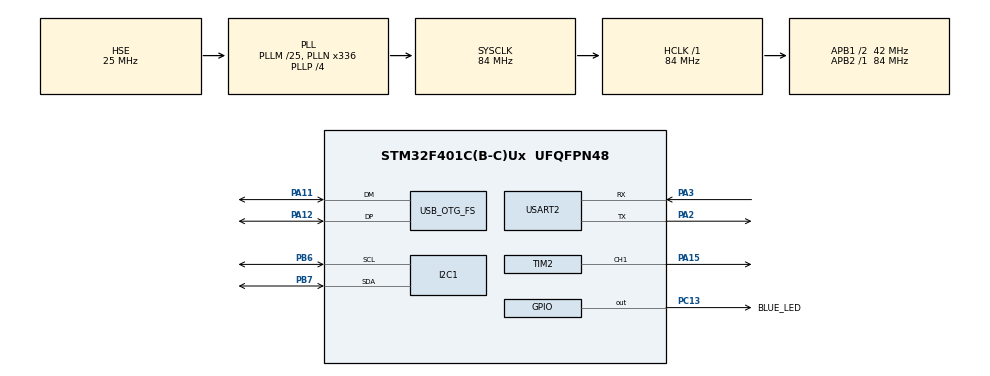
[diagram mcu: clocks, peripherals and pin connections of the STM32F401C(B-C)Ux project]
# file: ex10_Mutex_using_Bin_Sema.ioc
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Mcu.Family=STM32F4
Mcu.Name=STM32F401C(B-C)Ux
Mcu.Package=UFQFPN48
NVIC.OTG_FS_IRQn=true\:0\:0\:true\:false\:true\:false\:true\:true
NVIC.PriorityGroup=NVIC_PRIORITYGROUP_4
NVIC.TIM1_UP_TIM10_IRQn=true\:15\:0\:false\:false\:true\:false\:true\:true
NVIC.TimeBase=TIM1_UP_TIM10_IRQn
NVIC.TimeBaseIP=TIM1
PA11.Mode=Device_Only
PA11.Signal=USB_OTG_FS_DM
PA12.Mode=Device_Only
PA12.Signal=USB_OTG_FS_DP
PA13.Mode=Trace_Asynchronous_SW
PA13.Signal=SYS_JTMS-SWDIO
PA14.Mode=Trace_Asynchronous_SW
PA14.Signal=SYS_JTCK-SWCLK
PA15.Signal=S_TIM2_CH1_ETR
PA2.Mode=Asynchronous
PA2.Signal=USART2_TX
PA3.Mode=Asynchronous
PA3.Signal=USART2_RX
PB3.Mode=Trace_Asynchronous_SW
PB3.Signal=SYS_JTDO-SWO
PB6.Mode=I2C
PB6.Signal=I2C1_SCL
PB7.Mode=I2C
PB7.Signal=I2C1_SDA
PC13-ANTI_TAMP.GPIO_Label=BLUE_LED
PC13-ANTI_TAMP.GPIO_ModeDefaultOutputPP=GPIO_MODE_OUTPUT_OD
PC13-ANTI_TAMP.GPIO_PuPd=GPIO_NOPULL
PC13-ANTI_TAMP.PinState=GPIO_PIN_SET
PC13-ANTI_TAMP.Signal=GPIO_Output
PC14-OSC32_IN.Mode=LSE-External-Oscillator
PC14-OSC32_IN.Signal=RCC_OSC32_IN
PC15-OSC32_OUT.Mode=LSE-External-Oscillator
PC15-OSC32_OUT.Signal=RCC_OSC32_OUT
PH0\ -\ OSC_IN.Mode=HSE-External-Oscillator
PH0\ -\ OSC_IN.Signal=RCC_OSC_IN
PH1\ -\ OSC_OUT.Mode=HSE-External-Oscillator
PH1\ -\ OSC_OUT.Signal=RCC_OSC_OUT
ProjectManager.HeapSize=0x200
ProjectManager.StackSize=0x400
ProjectManager.TargetToolchain=STM32CubeIDE
RCC.48MHZClocksFreq_Value=48000000
RCC.AHBFreq_Value=84000000
RCC.APB1CLKDivider=RCC_HCLK_DIV2
RCC.APB1Freq_Value=42000000
RCC.APB1TimFreq_Value=84000000
RCC.APB2Freq_Value=84000000
RCC.APB2TimFreq_Value=84000000
RCC.CortexFreq_Value=84000000
RCC.HCLKFreq_Value=84000000
RCC.HSE_VALUE=25000000
RCC.HSI_VALUE=16000000
RCC.PLLM=25
RCC.PLLN=336
RCC.PLLP=RCC_PLLP_DIV4
RCC.PLLQ=7
RCC.SYSCLKFreq_VALUE=84000000
RCC.SYSCLKSource=RCC_SYSCLKSOURCE_PLLCLK
RCC.VCOOutputFreq_Value=336000000
RTC.HourFormat=RTC_HOURFORMAT_12
SH.S_TIM2_CH1_ETR.0=TIM2_CH1,PWM Generation1 CH1
TIM2.Channel-PWM\ Generation1\ CH1=TIM_CHANNEL_1
USART2.VirtualMode=VM_ASYNC
USB_DEVICE.CLASS_NAME_FS=CDC
USB_DEVICE.VirtualMode=Cdc
USB_DEVICE.VirtualModeFS=Cdc_FS
USB_OTG_FS.VirtualMode=Device_Only
VP_RTC_VS_RTC_Activate.Mode=RTC_Enabled
VP_SYS_VS_tim1.Mode=TIM1
VP_USB_DEVICE_VS_USB_DEVICE_CDC_FS.Mode=CDC_FS
board=custom

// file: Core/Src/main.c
/* USER CODE BEGIN Header */
/**
  ******************************************************************************
  * @file           : main.c
  * @brief          : Main program body
  ******************************************************************************
  * @attention
  *
  * Copyright (c) 2022 STMicroelectronics.
  * All rights reserved.
  *
  * This software is licensed under terms that can be found in the LICENSE file
  * in the root directory of this software component.
  * If no LICENSE file comes with this software, it is provided AS-IS.
  *
  ******************************************************************************
  */
/* USER CODE END Header */
#include "main.h"
#include "i2c.h"
#include "rtc.h"
#include "tim.h"
#include "usart.h"
#include "usb_device.h"
#include "gpio.h"

/* USER CODE BEGIN Includes */
#include "dwt_delay.h"
#include "FreeRTOS.h"
#include "task.h"
#include "queue.h"
#include "semphr.h"
#include <stdio.h>
/* USER CODE END Includes */

/* USER CODE BEGIN PV */
uint8_t msg[100];
uint8_t len;
/* USER CODE END PV */

void SystemClock_Config(void);
/* USER CODE BEGIN PFP */
static void vTask1(void *pvParameters);
static void vTask2(void *pvParameters);

xQueueHandle xBinarySemaphore;
/* USER CODE END PFP */

int main(void)
{

  /* MCU Configuration--------------------------------------------------------*/

  /* Reset of all peripherals, Initializes the Flash interface and the Systick. */
  HAL_Init();

  /* Configure the system clock */
  SystemClock_Config();

  /* Initialize all configured peripherals */
  MX_GPIO_Init();
  MX_I2C1_Init();
  MX_TIM2_Init();
  MX_USB_DEVICE_Init();
  MX_RTC_Init();
  MX_USART2_UART_Init();
  /* USER CODE BEGIN 2 */
  vSetVarulMaxPRIGROUPValue();
  DWT_Init();
  SEGGER_UART_init(500000);
  SEGGER_SYSVIEW_Conf();

  xBinarySemaphore = xSemaphoreCreateBinary();

  if (xBinarySemaphore != NULL) {
	  xTaskCreate(vTask1, "Task1", 500, NULL, 1, NULL);
	  xTaskCreate(vTask2, "Task2", 500, NULL, 1, NULL);

	  xSemaphoreGive(xBinarySemaphore);
	  vTaskStartScheduler();
  } else {
	  len = snprintf((char *)msg, 100, "Binary semaphore creation failed.%s", "\r\n");
	  HAL_UART_Transmit(&huart2, msg, len, 100);
  }
  /* USER CODE END 2 */

  /* Infinite loop */
  while (1)
  {

  }
}

void SystemClock_Config(void)
{
  RCC_OscInitTypeDef RCC_OscInitStruct = {0};
  RCC_ClkInitTypeDef RCC_ClkInitStruct = {0};

  /** Configure the main internal regulator output voltage
  */
  __HAL_RCC_PWR_CLK_ENABLE();
  __HAL_PWR_VOLTAGESCALING_CONFIG(PWR_REGULATOR_VOLTAGE_SCALE2);

  /** Initializes the RCC Oscillators according to the specified parameters
  * in the RCC_OscInitTypeDef structure.
  */
  RCC_OscInitStruct.OscillatorType = RCC_OSCILLATORTYPE_LSI|RCC_OSCILLATORTYPE_HSE;
  RCC_OscInitStruct.HSEState = RCC_HSE_ON;
  RCC_OscInitStruct.LSIState = RCC_LSI_ON;
  RCC_OscInitStruct.PLL.PLLState = RCC_PLL_ON;
  RCC_OscInitStruct.PLL.PLLSource = RCC_PLLSOURCE_HSE;
  RCC_OscInitStruct.PLL.PLLM = 25;
  RCC_OscInitStruct.PLL.PLLN = 336;
  RCC_OscInitStruct.PLL.PLLP = RCC_PLLP_DIV4;
  RCC_OscInitStruct.PLL.PLLQ = 7;
  if (HAL_RCC_OscConfig(&RCC_OscInitStruct) != HAL_OK)
  {
    Error_Handler();
  }

  /** Initializes the CPU, AHB and APB buses clocks
  */
  RCC_ClkInitStruct.ClockType = RCC_CLOCKTYPE_HCLK|RCC_CLOCKTYPE_SYSCLK
                              |RCC_CLOCKTYPE_PCLK1|RCC_CLOCKTYPE_PCLK2;
  RCC_ClkInitStruct.SYSCLKSource = RCC_SYSCLKSOURCE_PLLCLK;
  RCC_ClkInitStruct.AHBCLKDivider = RCC_SYSCLK_DIV1;
  RCC_ClkInitStruct.APB1CLKDivider = RCC_HCLK_DIV2;
  RCC_ClkInitStruct.APB2CLKDivider = RCC_HCLK_DIV1;

  if (HAL_RCC_ClockConfig(&RCC_ClkInitStruct, FLASH_LATENCY_2) != HAL_OK)
  {
    Error_Handler();
  }
}

/* USER CODE BEGIN 4 */
static void vTask1(void *pvParameters)
{
	const char *pcTaskName = "Task 1 is running\r\n";

	while (1) {
		xSemaphoreTake(xBinarySemaphore, portMAX_DELAY);

		len = snprintf((char *)msg, 100, "%s", pcTaskName);
		HAL_UART_Transmit(&huart2, msg, len, 100);

		xSemaphoreGive(xBinarySemaphore);

		vTaskDelay(500 / portTICK_RATE_MS);
	}
}

static void vTask2(void *pvParameters)
{
	const char *pcTaskName = "Task 2 is running\r\n";

	while (1) {
		xSemaphoreTake(xBinarySemaphore, portMAX_DELAY);

		len = snprintf((char *)msg, 100, "%s", pcTaskName);
		HAL_UART_Transmit(&huart2, msg, len, 100);

		xSemaphoreGive(xBinarySemaphore);

		vTaskDelay(500 / portTICK_RATE_MS);
	}
}
/* USER CODE END 4 */

void HAL_TIM_PeriodElapsedCallback(TIM_HandleTypeDef *htim)
{
  if (htim->Instance == TIM1) {
    HAL_IncTick();
  }
}

void Error_Handler(void)
{
  __disable_irq();
  while (1)
  {
  }
}
